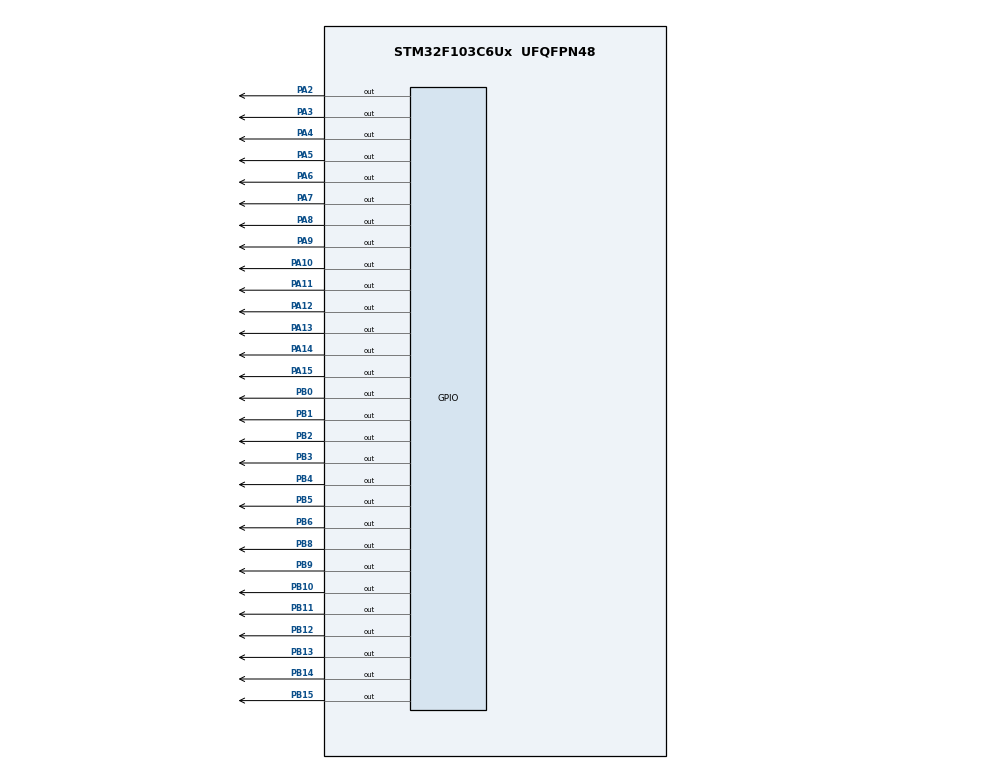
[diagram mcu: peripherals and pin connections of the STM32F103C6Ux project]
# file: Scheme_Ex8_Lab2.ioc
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Mcu.Family=STM32F1
Mcu.Name=STM32F103C6Ux
Mcu.Package=UFQFPN48
NVIC.PriorityGroup=NVIC_PRIORITYGROUP_4
NVIC.TIM2_IRQn=true\:0\:0\:false\:false\:true\:true\:true
PA10.Signal=GPIO_Output
PA11.Signal=GPIO_Output
PA12.Signal=GPIO_Output
PA13.Signal=GPIO_Output
PA14.Signal=GPIO_Output
PA15.Signal=GPIO_Output
PA2.Signal=GPIO_Output
PA3.Signal=GPIO_Output
PA4.Signal=GPIO_Output
PA5.Signal=GPIO_Output
PA6.Signal=GPIO_Output
PA7.Signal=GPIO_Output
PA8.Signal=GPIO_Output
PA9.Signal=GPIO_Output
PB0.Signal=GPIO_Output
PB1.Signal=GPIO_Output
PB10.Signal=GPIO_Output
PB11.Signal=GPIO_Output
PB12.Signal=GPIO_Output
PB13.Signal=GPIO_Output
PB14.Signal=GPIO_Output
PB15.Signal=GPIO_Output
PB2.Signal=GPIO_Output
PB3.Signal=GPIO_Output
PB4.Signal=GPIO_Output
PB5.Signal=GPIO_Output
PB6.Signal=GPIO_Output
PB8.Signal=GPIO_Output
PB9.Signal=GPIO_Output
ProjectManager.HeapSize=0x200
ProjectManager.StackSize=0x400
ProjectManager.TargetToolchain=STM32CubeIDE
RCC.APB1Freq_Value=8000000
RCC.APB2Freq_Value=8000000
TIM2.Period=9
TIM2.Prescaler=7999
VP_SYS_VS_ND.Mode=No_Debug
VP_TIM2_VS_ClockSourceINT.Mode=Internal
board=custom

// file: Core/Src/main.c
/* USER CODE BEGIN Header */
/**
  ******************************************************************************
  * @file           : main.c
  * @brief          : Lab 2 - Exercise 8: Move All Display & Clock Logic to Main
  ******************************************************************************
  * @attention
  *
  * <h2><center>&copy; Copyright (c) 2026 STMicroelectronics.
  * All rights reserved.</center></h2>
  *
  * This software component is licensed by ST under BSD 3-Clause license,
  * the "License"; You may not use this file except in compliance with the
  * License. You may obtain a copy of the License at:
  *                        opensource.org/licenses/BSD-3-Clause
  *
  ******************************************************************************
  */
/* USER CODE END Header */
#include "main.h"

TIM_HandleTypeDef htim2;

/* USER CODE BEGIN PV */
/* Khai báo biến thời gian và mảng đệm hiển thị */
const int MAX_LED = 4;
int led_buffer[4] = {0, 0, 0, 0};

int hour = 15;
int minute = 8;
int second = 50;

int index_led = 0;

/* Khai báo 2 Software Timer (sử dụng volatile để tránh lỗi compiler optimization) */
volatile int timer1_counter = 0;
volatile int timer1_flag = 0; // Timer 1: 1000ms cho đồng hồ số, đèn DOT (PA4) và LED D1 (PA5)

volatile int timer2_counter = 0;
volatile int timer2_flag = 0; // Timer 2: 250ms cho việc quét lần lượt 4 LED 7 đoạn

int TIMER_CYCLE = 10; // Chu kỳ ngắt phần cứng Timer 2 là 10ms
/* USER CODE END PV */

void SystemClock_Config(void);
static void MX_GPIO_Init(void);
static void MX_TIM2_Init(void);
/* USER CODE BEGIN PFP */
void display7SEG(int num);
void updateClockBuffer(void);
void update7SEG(int index);
void setTimer1(int duration);
void setTimer2(int duration);
void timer_run(void);
/* USER CODE END PFP */

/* USER CODE BEGIN 0 */
/* Mảng mã 7 đoạn Anode chung (mức 0 là sáng, mức 1 là tắt) */
static const uint8_t seg_code[10] = {
    0b1000000, // 0: a,b,c,d,e,f
    0b1111001, // 1: b,c
    0b0100100, // 2: a,b,d,e,g
    0b0110000, // 3: a,b,c,d,g
    0b0011001, // 4: b,c,f,g
    0b0010010, // 5: a,c,d,f,g
    0b0000010, // 6: a,c,d,e,f,g
    0b1111000, // 7: a,b,c
    0b0000000, // 8: a,b,c,d,e,f,g
    0b0010000  // 9: a,b,c,d,f,g
};

void display7SEG(int num)
{
    if (num < 0 || num > 9) return;
    uint8_t code = seg_code[num];
    HAL_GPIO_WritePin(GPIOB, GPIO_PIN_0, (code & 0x01) ? GPIO_PIN_SET : GPIO_PIN_RESET);
    HAL_GPIO_WritePin(GPIOB, GPIO_PIN_1, (code & 0x02) ? GPIO_PIN_SET : GPIO_PIN_RESET);
    HAL_GPIO_WritePin(GPIOB, GPIO_PIN_2, (code & 0x04) ? GPIO_PIN_SET : GPIO_PIN_RESET);
    HAL_GPIO_WritePin(GPIOB, GPIO_PIN_3, (code & 0x08) ? GPIO_PIN_SET : GPIO_PIN_RESET);
    HAL_GPIO_WritePin(GPIOB, GPIO_PIN_4, (code & 0x10) ? GPIO_PIN_SET : GPIO_PIN_RESET);
    HAL_GPIO_WritePin(GPIOB, GPIO_PIN_5, (code & 0x20) ? GPIO_PIN_SET : GPIO_PIN_RESET);
    HAL_GPIO_WritePin(GPIOB, GPIO_PIN_6, (code & 0x40) ? GPIO_PIN_SET : GPIO_PIN_RESET);
}

void updateClockBuffer(void)
{
    led_buffer[0] = hour / 10;
    led_buffer[1] = hour % 10;
    led_buffer[2] = minute / 10;
    led_buffer[3] = minute % 10;
}

void update7SEG(int index)
{
    // Tắt toàn bộ 4 transistor PNP bằng mức 1 trước khi quét số mới
    HAL_GPIO_WritePin(GPIOA, GPIO_PIN_6 | GPIO_PIN_7 | GPIO_PIN_8 | GPIO_PIN_9, GPIO_PIN_SET);

    switch (index) {
        case 0:
            display7SEG(led_buffer[0]);
            HAL_GPIO_WritePin(GPIOA, GPIO_PIN_6, GPIO_PIN_RESET); // Kích dẫn Q1
            break;
        case 1:
            display7SEG(led_buffer[1]);
            HAL_GPIO_WritePin(GPIOA, GPIO_PIN_7, GPIO_PIN_RESET); // Kích dẫn Q2
            break;
        case 2:
            display7SEG(led_buffer[2]);
            HAL_GPIO_WritePin(GPIOA, GPIO_PIN_8, GPIO_PIN_RESET); // Kích dẫn Q3
            break;
        case 3:
            display7SEG(led_buffer[3]);
            HAL_GPIO_WritePin(GPIOA, GPIO_PIN_9, GPIO_PIN_RESET); // Kích dẫn Q4
            break;
        default:
            break;
    }
}

/* Các hàm cài đặt thời gian cho Software Timer */
void setTimer1(int duration)
{
    timer1_counter = duration / TIMER_CYCLE;
    timer1_flag = 0;
}

void setTimer2(int duration)
{
    timer2_counter = duration / TIMER_CYCLE;
    timer2_flag = 0;
}

/* Hàm giảm biến đếm Software Timer (chạy trong ngắt phần cứng 10ms) */
void timer_run(void)
{
    if (timer1_counter > 0) {
        timer1_counter--;
        if (timer1_counter == 0) {
            timer1_flag = 1;
        }
    }

    if (timer2_counter > 0) {
        timer2_counter--;
        if (timer2_counter == 0) {
            timer2_flag = 1;
        }
    }
}
/* USER CODE END 0 */

int main(void)
{

  /* MCU Configuration--------------------------------------------------------*/

  /* Reset of all peripherals, Initializes the Flash interface and the Systick. */
  HAL_Init();

  /* Configure the system clock */
  SystemClock_Config();

  /* Initialize all configured peripherals */
  MX_GPIO_Init();
  MX_TIM2_Init();
  /* USER CODE BEGIN 2 */
  /* Cập nhật giá trị hiển thị ban đầu vào mảng đệm */
  updateClockBuffer();

  /* Bật ngắt phần cứng Timer 2 */
  HAL_TIM_Base_Start_IT(&htim2);

  /* Cài đặt 2 Software Timer ban đầu */
  setTimer1(1000); // 1000ms cho đồng hồ số & nhấp nháy đèn
  setTimer2(250);  // 250ms cho việc quét LED 7 đoạn
  /* USER CODE END 2 */

  /* Infinite loop */
  while (1)
  {

    /* USER CODE BEGIN 3 */
    /* Tác vụ 1: Quét 4 LED 7 đoạn ngoài main (chu kỳ 250ms) */
    if (timer2_flag == 1) {
        setTimer2(250); // Nạp lại chu kỳ quét kế tiếp
        update7SEG(index_led);
        index_led++;
        if (index_led >= MAX_LED) {
            index_led = 0;
        }
    }

    /* Tác vụ 2: Đếm thời gian số & đảo chân DOT, LED D1 ngoài main (chu kỳ 1000ms) */
    if (timer1_flag == 1) {
        setTimer1(1000); // Nạp lại chu kỳ 1s
        HAL_GPIO_TogglePin(GPIOA, GPIO_PIN_4); // Đảo trạng thái đèn hai chấm DOT
        HAL_GPIO_TogglePin(GPIOA, GPIO_PIN_5); // Đảo trạng thái đèn LED D1 (hệ thống)

        second++;
        if (second >= 60) {
            second = 0;
            minute++;
            if (minute >= 60) {
                minute = 0;
                hour++;
                if (hour >= 24) {
                    hour = 0;
                }
            }
        }
        updateClockBuffer();
    }
  }
  /* USER CODE END 3 */
}

void SystemClock_Config(void)
{
  RCC_OscInitTypeDef RCC_OscInitStruct = {0};
  RCC_ClkInitTypeDef RCC_ClkInitStruct = {0};

  /** Initializes the RCC Oscillators according to the specified parameters
  * in the RCC_OscInitTypeDef structure.
  */
  RCC_OscInitStruct.OscillatorType = RCC_OSCILLATORTYPE_HSI;
  RCC_OscInitStruct.HSIState = RCC_HSI_ON;
  RCC_OscInitStruct.HSICalibrationValue = RCC_HSICALIBRATION_DEFAULT;
  RCC_OscInitStruct.PLL.PLLState = RCC_PLL_NONE;
  if (HAL_RCC_OscConfig(&RCC_OscInitStruct) != HAL_OK)
  {
    Error_Handler();
  }
  /** Initializes the CPU, AHB and APB buses clocks
  */
  RCC_ClkInitStruct.ClockType = RCC_CLOCKTYPE_HCLK|RCC_CLOCKTYPE_SYSCLK
                              |RCC_CLOCKTYPE_PCLK1|RCC_CLOCKTYPE_PCLK2;
  RCC_ClkInitStruct.SYSCLKSource = RCC_SYSCLKSOURCE_HSI;
  RCC_ClkInitStruct.AHBCLKDivider = RCC_SYSCLK_DIV1;
  RCC_ClkInitStruct.APB1CLKDivider = RCC_HCLK_DIV1;
  RCC_ClkInitStruct.APB2CLKDivider = RCC_HCLK_DIV1;

  if (HAL_RCC_ClockConfig(&RCC_ClkInitStruct, FLASH_LATENCY_0) != HAL_OK)
  {
    Error_Handler();
  }
}

static void MX_TIM2_Init(void)
{

  TIM_ClockConfigTypeDef sClockSourceConfig = {0};
  TIM_MasterConfigTypeDef sMasterConfig = {0};

  htim2.Instance = TIM2;
  htim2.Init.Prescaler = 7999;
  htim2.Init.CounterMode = TIM_COUNTERMODE_UP;
  htim2.Init.Period = 9;
  htim2.Init.ClockDivision = TIM_CLOCKDIVISION_DIV1;
  htim2.Init.AutoReloadPreload = TIM_AUTORELOAD_PRELOAD_DISABLE;
  if (HAL_TIM_Base_Init(&htim2) != HAL_OK)
  {
    Error_Handler();
  }
  sClockSourceConfig.ClockSource = TIM_CLOCKSOURCE_INTERNAL;
  if (HAL_TIM_ConfigClockSource(&htim2, &sClockSourceConfig) != HAL_OK)
  {
    Error_Handler();
  }
  sMasterConfig.MasterOutputTrigger = TIM_TRGO_RESET;
  sMasterConfig.MasterSlaveMode = TIM_MASTERSLAVEMODE_DISABLE;
  if (HAL_TIMEx_MasterConfigSynchronization(&htim2, &sMasterConfig) != HAL_OK)
  {
    Error_Handler();
  }
  /* USER CODE BEGIN TIM2_Init 2 */
  HAL_NVIC_SetPriority(TIM2_IRQn, 0, 0);
  HAL_NVIC_EnableIRQ(TIM2_IRQn);
  /* USER CODE END TIM2_Init 2 */

}

static void MX_GPIO_Init(void)
{
  GPIO_InitTypeDef GPIO_InitStruct = {0};

  /* GPIO Ports Clock Enable */
  __HAL_RCC_GPIOA_CLK_ENABLE();
  __HAL_RCC_GPIOB_CLK_ENABLE();

  /* Khóa toàn bộ transistor (PA6..PA9 = 1), tắt đèn DOT (PA4 = 1), tắt LED D1 (PA5 = 0) */
  HAL_GPIO_WritePin(GPIOA, GPIO_PIN_4 | GPIO_PIN_6 | GPIO_PIN_7 | GPIO_PIN_8 | GPIO_PIN_9, GPIO_PIN_SET);
  HAL_GPIO_WritePin(GPIOA, GPIO_PIN_5, GPIO_PIN_RESET);

  /* PB0..PB6 ở mức 1 để tắt toàn bộ các thanh LED 7 đoạn lúc khởi động */
  HAL_GPIO_WritePin(GPIOB, GPIO_PIN_0 | GPIO_PIN_1 | GPIO_PIN_2 | GPIO_PIN_3
                          | GPIO_PIN_4 | GPIO_PIN_5 | GPIO_PIN_6, GPIO_PIN_SET);

  /* Configure GPIO pins : PA4 PA5 PA6 PA7 PA8 PA9 */
  GPIO_InitStruct.Pin = GPIO_PIN_4 | GPIO_PIN_5 | GPIO_PIN_6 | GPIO_PIN_7
                        | GPIO_PIN_8 | GPIO_PIN_9;
  GPIO_InitStruct.Mode = GPIO_MODE_OUTPUT_PP;
  GPIO_InitStruct.Pull = GPIO_NOPULL;
  GPIO_InitStruct.Speed = GPIO_SPEED_FREQ_LOW;
  HAL_GPIO_Init(GPIOA, &GPIO_InitStruct);

  /* Configure GPIO pins : PB0 PB1 PB2 PB3 PB4 PB5 PB6 */
  GPIO_InitStruct.Pin = GPIO_PIN_0 | GPIO_PIN_1 | GPIO_PIN_2 | GPIO_PIN_3
                        | GPIO_PIN_4 | GPIO_PIN_5 | GPIO_PIN_6;
  GPIO_InitStruct.Mode = GPIO_MODE_OUTPUT_PP;
  GPIO_InitStruct.Pull = GPIO_NOPULL;
  GPIO_InitStruct.Speed = GPIO_SPEED_FREQ_LOW;
  HAL_GPIO_Init(GPIOB, &GPIO_InitStruct);

}

/* USER CODE BEGIN 4 */
/* Tiêu chí cốt lõi Exercise 8: ISR chỉ gọi duy nhất timer_run() */
void HAL_TIM_PeriodElapsedCallback(TIM_HandleTypeDef *htim)
{
  if (htim->Instance == TIM2)
  {
    timer_run();
  }
}
/* USER CODE END 4 */

void Error_Handler(void)
{
  __disable_irq();
  while (1)
  {
  }
}

/************************ (C) COPYRIGHT STMicroelectronics *****END OF FILE****/
